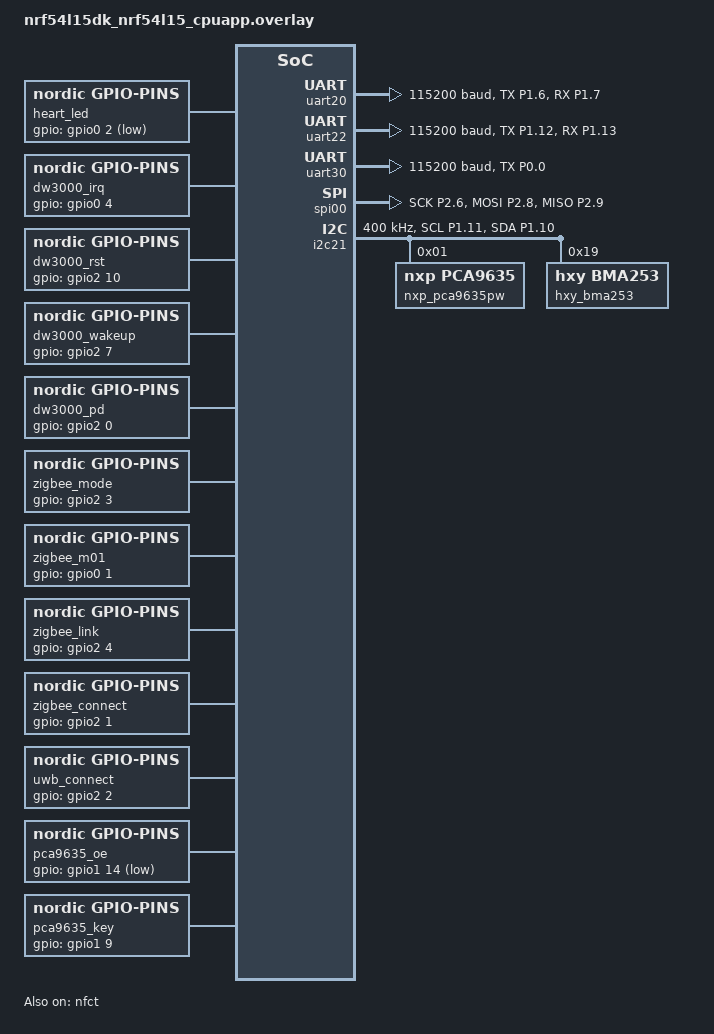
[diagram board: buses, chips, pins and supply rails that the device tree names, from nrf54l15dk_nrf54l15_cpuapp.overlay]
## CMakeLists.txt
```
#
# Copyright (c) 2018 Nordic Semiconductor
#
# SPDX-License-Identifier: LicenseRef-Nordic-5-Clause
#
cmake_minimum_required(VERSION 3.20.0)

find_package(Zephyr REQUIRED HINTS $ENV{ZEPHYR_BASE})
project(peripheral_54L15)


set(BUILD_INFO_H ${CMAKE_BINARY_DIR}/generated/build_info.h)
file(MAKE_DIRECTORY ${CMAKE_BINARY_DIR}/generated)

# 永远执行的自定义目标，每次build必跑
add_custom_target(gen_build_info_target ALL
  COMMAND ${CMAKE_COMMAND}
    -DAPPLICATION_SOURCE_DIR=${APPLICATION_SOURCE_DIR}
    -DBUILD_INFO_H=${BUILD_INFO_H}
    -P ${APPLICATION_SOURCE_DIR}/gen_build_info.cmake
  BYPRODUCTS ${BUILD_INFO_H}
  COMMENT "Generating build_info.h (always run)"
  VERBATIM
)

# app 依赖这个目标，保证编译代码前先生成
add_dependencies(app gen_build_info_target)
zephyr_include_directories(${CMAKE_BINARY_DIR}/generated)



target_include_directories(app PRIVATE src)
target_include_directories(app PRIVATE src/ble)
target_include_directories(app PRIVATE src/sensor)
target_include_directories(app PRIVATE src/config)
target_include_directories(app PRIVATE src/led)
#target_include_directories(app PRIVATE src/led/ws2811)
target_include_directories(app PRIVATE src/led/pca9635)
target_include_directories(app PRIVATE src/lib)
target_include_directories(app PRIVATE src/uarts)
target_include_directories(app PRIVATE src/dwt/dw3000)
target_include_directories(app PRIVATE src/dwt/dw3000/decadriver)
target_include_directories(app PRIVATE src/dwt/dw3000_hw)
target_include_directories(app PRIVATE src/dwt/dw3000_node)
target_include_directories(app PRIVATE src/dwt/shared_data)
target_include_directories(app PRIVATE src/dwt/platform)
target_include_directories(app PRIVATE src/imu_driver)
target_include_directories(app PRIVATE src/nfc)
# NORDIC SDK APP START
target_sources(app PRIVATE
  src/main.c
#  src/led/ws2811/ws2811_gpio.c
  src/led/pca9635/pca9635pw.c
  src/led/ledlight.c
  src/uarts/RS485_deal.c
  src/uarts/zigbee_deal.c
  src/uarts/uartdataparse.c
  src/lib/qmath.c
  src/dwt/dw3000/deca_rsl.c
  src/dwt/dw3000/deca_interface.c
  src/dwt/dw3000/decadriver/dw3000_device.c
  src/dwt/dw3000_hw/deca_compat.c
  src/dwt/dw3000_hw/dw3000_spi.c
  src/dwt/dw3000_hw/dw3000_hw.c
  src/dwt/dw3000_hw/deca_port.c
  src/dwt/dw3000_hw/dw3000_spi_trace.c
  src/dwt/dw3000_node/dw3000_node.c
  src/dwt/platform/config_options.c
  src/dwt/shared_data/shared_functions.c
  src/ble/nus_manage.c
  src/ble/peripheral_manage.c
  src/ble/nus_peripheral.c
  src/ble/nus_central_scan.c
  src/ble/central_manage.c
  src/sensor/sensordeal.c
  src/config/config.c
  src/imu_driver/bma253_i2c_driver.c
  src/imu_driver/bma253_example.c
  src/nfc/nfc_config_tag.c
)

# NORDIC SDK APP END
```

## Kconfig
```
#
# Copyright (c) 2018 Nordic Semiconductor
#
# SPDX-License-Identifier: LicenseRef-Nordic-5-Clause
#

source "Kconfig.zephyr"

menu "Nordic UART BLE GATT service sample"

config BT_NUS_THREAD_STACK_SIZE
	int "Thread stack size"
	default 1024
	help
	  Stack size used in each of the two threads

config BT_NUS_UART_BUFFER_SIZE
	int "UART payload buffer element size"
	default 40
	help
	  Size of the payload buffer in each RX and TX FIFO element

config BT_NUS_SECURITY_ENABLED
	bool "Security"
	default y
	select BT_SMP
	help
	  Enable Bluetooth LE security for the UART service

config BT_NUS_UART_RX_WAIT_TIME
	int "Timeout for UART RX complete event"
	default 50000
	help
	  Wait for RX complete event time in microseconds

config SETTINGS
	default y

config ZMS
	default y if (SOC_FLASH_NRF_RRAM || SOC_FLASH_NRF_MRAM)

config NVS
	default y if !(SOC_FLASH_NRF_RRAM || SOC_FLASH_NRF_MRAM)
	
config APP_NFC_CONFIG_PIN
	string "PIN required in NFC configuration records"
	default ""
	help
	  PIN required in writable NFC NDEF configuration records. Keep this
	  value out of version control. The PIN is embedded in firmware and is
	  intended only to prevent accidental nearby writes, not as strong
	  authentication.


endmenu
```

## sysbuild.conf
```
# SB_CONFIG_BOOTLOADER_MCUBOOT=y
# SB_CONFIG_MCUBOOT_MODE_SWAP_USING_MOVE=y

# SB_CONFIG_BOOT_SIGNATURE_TYPE_ED25519=y
# SB_CONFIG_BOOT_SIGNATURE_KEY_FILE="\${APPLICATION_CONFIG_DIR}/certs/mcuboot.pem"
```

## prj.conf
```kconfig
#
# Copyright (c) 2018 Nordic Semiconductor
#
# SPDX-License-Identifier: LicenseRef-Nordic-5-Clause
#

# Enable the UART driver
CONFIG_UART_ASYNC_API=y
CONFIG_NRFX_UARTE=y
CONFIG_SERIAL=y

CONFIG_GPIO=y

# Make sure printk is printing to the UART console
CONFIG_CONSOLE=y
CONFIG_UART_CONSOLE=y

CONFIG_HEAP_MEM_POOL_SIZE=2048

CONFIG_BT=y
CONFIG_BT_PERIPHERAL=y
# CONFIG_BT_DEVICE_NAME="Nordic_UART_Service"
CONFIG_BT_MAX_CONN=11
CONFIG_BT_MAX_PAIRED=1

# Enable the NUS service
CONFIG_BT_NUS=n


CONFIG_BT_CENTRAL=y
CONFIG_BT_SMP=y
CONFIG_BT_GATT_CLIENT=y
CONFIG_BT_SCAN=y
CONFIG_BT_GATT_DM=y

# Enable bonding
CONFIG_BT_SETTINGS=y
CONFIG_FLASH=y
CONFIG_FLASH_PAGE_LAYOUT=y
CONFIG_FLASH_MAP=y

# Enable DK LED and Buttons library
# CONFIG_DK_LIBRARY=y

CONFIG_SYSTEM_WORKQUEUE_STACK_SIZE=2048
# Config logger
# CONFIG_LOG=y
# CONFIG_USE_SEGGER_RTT=y
# CONFIG_LOG_BACKEND_RTT=y
# CONFIG_LOG_BACKEND_UART=n
# CONFIG_LOG_PRINTK=n

CONFIG_ASSERT=y
#WS2811
# CONFIG_PWM=y
# CONFIG_NRFX_PWM=y
# CONFIG_DMA=y

CONFIG_I2C=y

CONFIG_SPI=y
CONFIG_REBOOT=y
# CONFIG_BT_CTLR_TX_PWR_PLUS_8=y
CONFIG_BT_CTLR_TX_PWR_DYNAMIC_CONTROL=y
CONFIG_BT_EXT_ADV=y
CONFIG_CBPRINTF_FP_SUPPORT=y




# 启用 SMP DFU
# CONFIG_NCS_SAMPLE_MCUMGR_BT_OTA_DFU=y
# CONFIG_MCUMGR=y
# CONFIG_MCUMGR_GRP_OS=y
# CONFIG_MCUMGR_GRP_IMG=y
# CONFIG_MCUMGR_TRANSPORT_BT=y

# 安全认证（推荐）
# CONFIG_MCUMGR_TRANSPORT_BT_PERM_RW_AUTHEN=n

# 软件触发 DFU 时需要（可选）
# CONFIG_RETENTION=y
# CONFIG_RETAINED_MEM=y
# CONFIG_RETAINED_MEM_ZEPHYR_RAM=y
# CONFIG_RETENTION=y
# CONFIG_RETENTION_BOOT_MODE=y    # 注意：是 BOOT_MODE 不是 BOOTMODE

# NFC Type 4 writable tag and chip-unique device ID.
CONFIG_NFC_T4T_NRFXLIB=y
CONFIG_HWINFO=y

CONFIG_APP_NFC_CONFIG_PIN="12345678"
```

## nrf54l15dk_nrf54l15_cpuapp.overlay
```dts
/ {

	/delete-node/ leds;
	/delete-node/ buttons;
	/delete-node/ pwmleds;

	aliases{
		/delete-property/ led0;
		/delete-property/ led1;
		/delete-property/ led2;
		/delete-property/ led3;
		/delete-property/ sw0;
		/delete-property/ sw1;
		/delete-property/ sw2;
		/delete-property/ sw3;
		/delete-property/ pwm-led0;
		/delete-property/ mcuboot-button0;
		/delete-property/ mcuboot-led0;
	};

	nordic_expansion_header: nordic_expansion_header {
		/delete-property/ gpio-map-mask;
		/delete-property/ gpio-map-pass-thru;
		/delete-property/ gpio-map;
		/delete-property/ compatible;
		/delete-property/ #gpio-cells;
		status = "disabled";
	};

	chosen {
		zephyr,console = &uart30;
		zephyr,shell-uart = &uart30;
	};

	// /delete-node/ nordic_expansion_header;

	heart_led: heart-led {
		compatible = "nordic,gpio-pins";
		gpios = <&gpio0 2 GPIO_ACTIVE_LOW>;
		status = "okay";
	};

	//rs485_gpio: rs485-gpio {
    //    compatible = "nordic,gpio-pins";
    //    gpios = <&gpio1 6 GPIO_ACTIVE_HIGH>;
    //    status = "okay";
    //};

	dw3000_irq: dw3000-irq {
		compatible = "nordic,gpio-pins";
		gpios = <&gpio0 4 GPIO_ACTIVE_HIGH>;
		status = "okay";
	};

	dw3000_rst: dw3000-rst {
		compatible = "nordic,gpio-pins";
		gpios = <&gpio2 10 GPIO_ACTIVE_HIGH>;
		status = "okay";
	};

	dw3000_wakeup: dw3000-wakeup {
		compatible = "nordic,gpio-pins";
		gpios = <&gpio2 7 GPIO_ACTIVE_HIGH>;
		status = "okay";
	};

	// dw3000_cs: dw3000-cs {
    //     compatible = "nordic,gpio-pins";
    //     gpios = <&gpio2 5 GPIO_ACTIVE_HIGH>;
    //     status = "okay";
    // };

	dw3000_pd: dw3000-pd {
		compatible = "nordic,gpio-pins";
		gpios = <&gpio2 0 GPIO_ACTIVE_HIGH>;
		status = "okay";
	};

	//dw3000_sync: dw3000-sync {
    //    compatible = "nordic,gpio-pins";
    //    gpios = <&gpio0 3 GPIO_ACTIVE_LOW>;
    //    status = "okay";
    //};

	zigbee_mode: zigbee-mode {
		compatible = "nordic,gpio-pins";
		gpios = <&gpio2 3 GPIO_ACTIVE_HIGH>;
		status = "okay";
	};

	zigbee_m01: zigbee-m01 {
		compatible = "nordic,gpio-pins";
		gpios = <&gpio0 1 GPIO_ACTIVE_HIGH>;
		status = "okay";
	};

	// zigbee_m00: zigbee-m00 {
	// 	compatible = "nordic,gpio-pins";
	// 	gpios = <&gpio0 0 GPIO_ACTIVE_HIGH>;
	// 	status = "okay";
	// };

	zigbee_link: zigbee-link {
		compatible = "nordic,gpio-pins";
		gpios = <&gpio2 4 GPIO_ACTIVE_HIGH>;
		status = "okay";
	};

	zigbee_connect: zigbee-connect {
		compatible = "nordic,gpio-pins";
		gpios = <&gpio2 1 GPIO_ACTIVE_HIGH>;
		status = "okay";
	};

	uwb_connect: uwb-connect {
		compatible = "nordic,gpio-pins";
		gpios = <&gpio2 2 GPIO_ACTIVE_HIGH>;
		status = "okay";
	};

	pca9635_oe: pca9635-oe {
		compatible = "nordic,gpio-pins";
		gpios = <&gpio1 14 GPIO_ACTIVE_LOW>;
		status = "okay";
	};

	pca9635_key: pca9635-key {
		compatible = "nordic,gpio-pins";
		gpios = <&gpio1 9 GPIO_ACTIVE_HIGH>;
		status = "okay";
	};
};

&pinctrl{
	/omit-if-no-ref/ uart20_only_default: uart20_only_default {
		group1 {
			psels = <NRF_PSEL(UART_TX, 1, 6)>;
		};

		group2 {
			psels = <NRF_PSEL(UART_RX, 1, 7)>;
			bias-pull-up;
		};
	};

	/omit-if-no-ref/ uart20_only_sleep: uart20_only_sleep {
		group1 {
			psels = <NRF_PSEL(UART_RX, 1, 7)>;
			low-power-enable;
		};

		group2 {
			psels = <NRF_PSEL(UART_TX, 1, 6)>;
			low-power-enable;
			bias-pull-up;
		};
	};

	/omit-if-no-ref/ uart21_only_default: uart21_only_default {
		group1 {
			psels = <NRF_PSEL(UART_TX, 1, 12)>;//P1.12
		};

		group2 {
			psels = <NRF_PSEL(UART_RX, 1, 13)>;
			bias-pull-up;
		};
	};

	/omit-if-no-ref/ uart21_only_sleep: uart21_only_sleep {
		group1 {
			psels = <NRF_PSEL(UART_TX, 1, 12)>,
				<NRF_PSEL(UART_RX, 1, 13)>;
			// bias-pull-up;
			low-power-enable;
		};
	};

	/omit-if-no-ref/ uart30_only_default: uart30_only_default {
		group1 {
			psels = <NRF_PSEL(UART_TX, 0, 0)>;
			// bias-pull-up;
		};
	};

	/omit-if-no-ref/ uart30_only_sleep: uart30_only_sleep {
		group1 {
			psels = <NRF_PSEL(UART_TX, 0, 0)>;
			bias-pull-up;
			low-power-enable;
		};
	};

	/omit-if-no-ref/ spi00_default: spi00_default {
		group1 {
			psels = <NRF_PSEL(SPIM_SCK, 2, 6)>,
				<NRF_PSEL(SPIM_MOSI, 2, 8)>,
				<NRF_PSEL(SPIM_MISO, 2, 9)>;
		};
	};

	/omit-if-no-ref/ spi00_sleep: spi00_sleep {
		group1 {
			psels = <NRF_PSEL(SPIM_SCK, 2, 6)>,
				<NRF_PSEL(SPIM_MOSI, 2, 8)>,
				<NRF_PSEL(SPIM_MISO, 2, 9)>;
			low-power-enable;
		};
	};

	/omit-if-no-ref/ i2c21_default: i2c21_default {
        group1 {
            psels = <NRF_PSEL(TWIM_SCL, 1, 11)>,
                    <NRF_PSEL(TWIM_SDA, 1, 10)>;
        };
    };
    /omit-if-no-ref/ i2c21_sleep: i2c21_sleep {
        group1 {
            psels = <NRF_PSEL(TWIM_SCL, 1, 11)>,
                    <NRF_PSEL(TWIM_SDA, 1, 10)>;
        };
    };
};

//RS485
&uart20 {
	current-speed = <115200>;
	pinctrl-0 = <&uart20_only_default>;
	pinctrl-1 = <&uart20_only_sleep>;
	pinctrl-names = "default", "sleep";
	status = "okay";
};

//zigbee
&uart22 {
	current-speed = <115200>;
	pinctrl-0 = <&uart21_only_default>;
	pinctrl-1 = <&uart21_only_sleep>;
	pinctrl-names = "default", "sleep";
	status = "okay";
};

&uart30 {
	current-speed = <115200>;
	pinctrl-0 = <&uart30_only_default>;
	pinctrl-1 = <&uart30_only_sleep>;
	pinctrl-names = "default", "sleep";
	disable-rx;  /* 禁用接收 */
	status = "okay";
};

&pwm20{
	/delete-property/ pinctrl-0;
	/delete-property/ pinctrl-1;
	/delete-property/ pinctrl-names;
	status = "disabled";
};

&nfct {
	status = "okay";
};

&adc {
	status = "disabled";
};

nordic_expansion_spi: &spi22 {
	status = "disabled";
};

&lfxo {
    load-capacitors = "external";
    load-capacitance-femtofarad = <12000>;
};

&spi00 {
	status = "okay";
	cs-gpios = <&gpio2 5 GPIO_ACTIVE_HIGH>;
	pinctrl-0 = <&spi00_default>;
	pinctrl-1 = <&spi00_sleep>;
	pinctrl-names = "default", "sleep";

	/delete-node/ mx25r6435f@0;
};

&spi22 {
	status = "disabled";
};

&i2c21 {
    status = "okay";
    pinctrl-0 = <&i2c21_default>;
    pinctrl-1 = <&i2c21_sleep>;
    pinctrl-names = "default", "sleep";
    clock-frequency = <I2C_BITRATE_FAST>;

    nxp_pca9635pw: nxp-pca9635pw@01 {
        compatible = "nxp,pca9635";
        reg = <0x1>;
    };

    hxy_bma253: hxy-bma253@19 {
        compatible = "hxy,bma253";
        reg = <0x19>;
    };
};
```

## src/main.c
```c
/*
 * Copyright (c) 2018 Nordic Semiconductor ASA
 *
 * SPDX-License-Identifier: LicenseRef-Nordic-5-Clause
 */

/** @file
 *  @brief Nordic UART Bridge Service (NUS) sample
 */


#include <zephyr/types.h>
#include <soc.h>
#include <zephyr/bluetooth/bluetooth.h>

#include <zephyr/settings/settings.h>

#include <stdio.h>
#include <string.h>

#include "RS485_deal.h"
#include "zigbee_deal.h"
#include "dw3000_node.h"
#include "ledlight.h"

#include "nus_manage.h"
#include "peripheral_manage.h"
#include "central_manage.h"
#include "nus_central_scan.h"
#include "sensordeal.h"
#include "config.h"
#include "bma253_example.h"
#include "nfc_config_tag.h"
#include "build_info.h"

void error(void)
{
	while (true) {
		/* Spin for ever */
		k_sleep(K_MSEC(1000));
	}
}

int main(void)
{
	printk("build time is %s\n", BUILD_TIME_STR);
	nrfConfigInit();
	LedLightInit();

	Zigbee_deal_init();
	RS485_deal_init();
	
	dw3000_hw_node_init();

	int err = 0;
	nus_security_init();
	err = bt_enable(NULL);
	if (err) {
		error();
	}

	printk("[%s %d]Bluetooth initialized\n", __func__, __LINE__);

	if (IS_ENABLED(CONFIG_SETTINGS)) {
		settings_load();
	}
	

	err = nus_peripheral_init();
	if (err) {
		printk("[%s %d]Failed to initialize peripheral (err: %d)\n", __func__, __LINE__, err);
		return 0;
	}

	err = nus1_central_init();
	if (err) {
		printk("[%s %d]Failed to initialize central service (err: %d)\n", __func__, __LINE__, err);
		return 0;
	}

	bt_central_scan_init();
	bt_centralscan_start();

	RS485_dealsetuartReceive();
	Zigbee_dealsetuartReceive();

	dw3000_node_run();

	nfc_config_tag_init();
	bma253_example_init();

	for (;;) {
		Function_of_indicator_lights();
		k_msleep(150);
		Sensor_Info_Respone_Interval();
		bma253_example_poll();
		//dw1000_sendpoll();
	}
}
```
